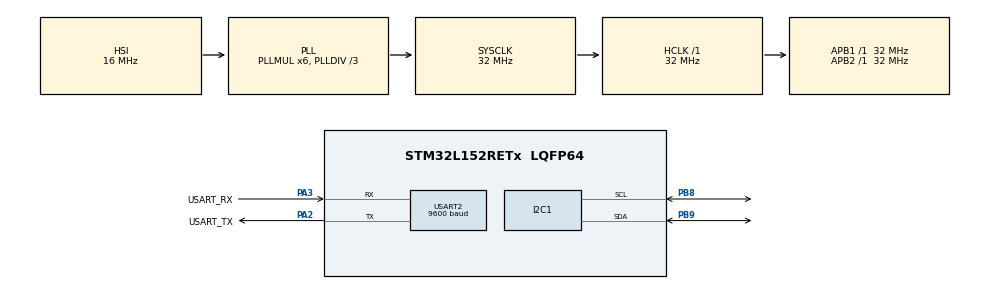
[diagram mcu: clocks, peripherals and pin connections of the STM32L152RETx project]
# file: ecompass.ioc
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Mcu.Family=STM32L1
Mcu.Name=STM32L152RETx
Mcu.Package=LQFP64
NVIC.PriorityGroup=NVIC_PRIORITYGROUP_0
NVIC.TIM3_IRQn=true\:0\:0\:false\:false\:true\:true
PA2.GPIO_Label=USART_TX
PA2.Mode=Asynchronous
PA2.Signal=USART2_TX
PA3.GPIO_Label=USART_RX
PA3.Mode=Asynchronous
PA3.Signal=USART2_RX
PB8.Mode=I2C
PB8.Signal=I2C1_SCL
PB9.Mode=I2C
PB9.Signal=I2C1_SDA
ProjectManager.HeapSize=0x200
ProjectManager.StackSize=0x400
ProjectManager.TargetToolchain=SW4STM32
RCC.48MHZClocksFreq_Value=48000000
RCC.AHBFreq_Value=32000000
RCC.APB1Freq_Value=32000000
RCC.APB1TimFreq_Value=32000000
RCC.APB2Freq_Value=32000000
RCC.APB2TimFreq_Value=32000000
RCC.HCLKFreq_Value=32000000
RCC.HSE_VALUE=8000000
RCC.HSI_VALUE=16000000
RCC.LSE_VALUE=32768
RCC.MSI_VALUE=2097000
RCC.PLLDIV=RCC_PLL_DIV3
RCC.PLLMUL=RCC_PLL_MUL6
RCC.RTCClockSelectionVirtual=RCC_RTCCLKSOURCE_LSE
RCC.SYSCLKFreq_VALUE=32000000
RCC.SYSCLKSource=RCC_SYSCLKSOURCE_PLLCLK
RCC.USBOutput=48000000
RCC.VCOOutputFreq_Value=96000000
TIM3.Period=3000
TIM3.Prescaler=31999
USART2.BaudRate=9600
USART2.VirtualMode=VM_ASYNC
VP_TIM3_VS_ClockSourceINT.Mode=Internal
board=NUCLEO-L152RE

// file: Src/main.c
/**
 ******************************************************************************
 * @file main.c
 * @author Mariлn Levi
 * @date 04/01/2018
 * @brief Main program body of the ecompass.
 *
 ******************************************************************************
 */

#include "main.h"
#include "stm32l1xx_hal.h"

/* USER CODE BEGIN Includes */
#include "LSM303AGR.cpp"

/* USER CODE END Includes */

I2C_HandleTypeDef hi2c1;
TIM_HandleTypeDef htim3;
UART_HandleTypeDef huart2;

/* USER CODE BEGIN PV */
/* Private variables ---------------------------------------------------------*/

/* USER CODE END PV */

void SystemClock_Config(void);
static void MX_GPIO_Init(void);
static void MX_USART2_UART_Init(void);
static void MX_TIM3_Init(void);
static void MX_I2C1_Init(void);

/* USER CODE BEGIN PFP */
/* Private function prototypes -----------------------------------------------*/
#ifdef __GNUC__
/* With GCC/RAISONANCE, small printf (option LD Linker->Libraries->Small printf
 set to 'Yes') calls __io_putchar() */
#define PUTCHAR_PROTOTYPE int __io_putchar(int ch)
#else
#define PUTCHAR_PROTOTYPE int fputc(int ch, FILE *f)
#endif /* __GNUC__ */

PUTCHAR_PROTOTYPE {
	HAL_UART_Transmit(&huart2, (uint8_t *) &ch, 1, 0xFFFF);
	return ch;
}
/* USER CODE END PFP */

int main(void) {

	/* MCU Configuration----------------------------------------------------------*/

	/* Reset of all peripherals, Initializes the Flash interface and the Systick. */
	HAL_Init();

	/* Configure the system clock */
	SystemClock_Config();

	/* Initialize all configured peripherals */
	MX_GPIO_Init();
	MX_USART2_UART_Init();
	MX_TIM3_Init();
	MX_I2C1_Init();

	/* USER CODE BEGIN 2 */

	LSM303AGR_setI2CInterface(&hi2c1);
	LSM303AGR_ACC_reset();
	LSM303AGR_MAG_reset();
	HAL_Delay(10);
	LSM303AGR_init();

	/* USER CODE END 2 */

	/* Infinite loop */
	while (1) {

		/* USER CODE BEGIN 3 */

		dirInt = ecompassAlgorithm();
		HAL_Delay(1000);

	}
	/* USER CODE END 3 */

}

/** System Clock Configuration
 */
void SystemClock_Config(void) {

	RCC_OscInitTypeDef RCC_OscInitStruct;
	RCC_ClkInitTypeDef RCC_ClkInitStruct;

	/**Configure the main internal regulator output voltage
	 */
	__HAL_PWR_VOLTAGESCALING_CONFIG(PWR_REGULATOR_VOLTAGE_SCALE1);

	/**Initializes the CPU, AHB and APB busses clocks
	 */
	RCC_OscInitStruct.OscillatorType = RCC_OSCILLATORTYPE_HSI;
	RCC_OscInitStruct.HSIState = RCC_HSI_ON;
	RCC_OscInitStruct.HSICalibrationValue = 16;
	RCC_OscInitStruct.PLL.PLLState = RCC_PLL_ON;
	RCC_OscInitStruct.PLL.PLLSource = RCC_PLLSOURCE_HSI;
	RCC_OscInitStruct.PLL.PLLMUL = RCC_PLL_MUL6;
	RCC_OscInitStruct.PLL.PLLDIV = RCC_PLL_DIV3;
	if (HAL_RCC_OscConfig(&RCC_OscInitStruct) != HAL_OK) {
		_Error_Handler(__FILE__, __LINE__);
	}

	/**Initializes the CPU, AHB and APB busses clocks
	 */
	RCC_ClkInitStruct.ClockType = RCC_CLOCKTYPE_HCLK | RCC_CLOCKTYPE_SYSCLK
			| RCC_CLOCKTYPE_PCLK1 | RCC_CLOCKTYPE_PCLK2;
	RCC_ClkInitStruct.SYSCLKSource = RCC_SYSCLKSOURCE_PLLCLK;
	RCC_ClkInitStruct.AHBCLKDivider = RCC_SYSCLK_DIV1;
	RCC_ClkInitStruct.APB1CLKDivider = RCC_HCLK_DIV1;
	RCC_ClkInitStruct.APB2CLKDivider = RCC_HCLK_DIV1;

	if (HAL_RCC_ClockConfig(&RCC_ClkInitStruct, FLASH_LATENCY_1) != HAL_OK) {
		_Error_Handler(__FILE__, __LINE__);
	}

	/**Configure the Systick interrupt time
	 */
	HAL_SYSTICK_Config(HAL_RCC_GetHCLKFreq() / 1000);

	/**Configure the Systick
	 */
	HAL_SYSTICK_CLKSourceConfig(SYSTICK_CLKSOURCE_HCLK);

	/** SysTick_IRQn interrupt configuration */
	HAL_NVIC_SetPriority(SysTick_IRQn, 0, 0);
}

/** I2C1 init function */
static void MX_I2C1_Init(void) {

	hi2c1.Instance = I2C1;
	hi2c1.Init.ClockSpeed = 100000;
	hi2c1.Init.DutyCycle = I2C_DUTYCYCLE_2;
	hi2c1.Init.OwnAddress1 = 0;
	hi2c1.Init.AddressingMode = I2C_ADDRESSINGMODE_7BIT;
	hi2c1.Init.DualAddressMode = I2C_DUALADDRESS_DISABLE;
	hi2c1.Init.OwnAddress2 = 0;
	hi2c1.Init.GeneralCallMode = I2C_GENERALCALL_DISABLE;
	hi2c1.Init.NoStretchMode = I2C_NOSTRETCH_DISABLE;
	if (HAL_I2C_Init(&hi2c1) != HAL_OK) {
		_Error_Handler(__FILE__, __LINE__);
	}

}

/** TIM3 init function */
static void MX_TIM3_Init(void) {

	TIM_ClockConfigTypeDef sClockSourceConfig;
	TIM_MasterConfigTypeDef sMasterConfig;

	htim3.Instance = TIM3;
	htim3.Init.Prescaler = 31999;
	htim3.Init.CounterMode = TIM_COUNTERMODE_UP;
	htim3.Init.Period = 3000;
	htim3.Init.ClockDivision = TIM_CLOCKDIVISION_DIV1;
	if (HAL_TIM_Base_Init(&htim3) != HAL_OK) {
		_Error_Handler(__FILE__, __LINE__);
	}

	sClockSourceConfig.ClockSource = TIM_CLOCKSOURCE_INTERNAL;
	if (HAL_TIM_ConfigClockSource(&htim3, &sClockSourceConfig) != HAL_OK) {
		_Error_Handler(__FILE__, __LINE__);
	}

	sMasterConfig.MasterOutputTrigger = TIM_TRGO_RESET;
	sMasterConfig.MasterSlaveMode = TIM_MASTERSLAVEMODE_DISABLE;
	if (HAL_TIMEx_MasterConfigSynchronization(&htim3, &sMasterConfig)
			!= HAL_OK) {
		_Error_Handler(__FILE__, __LINE__);
	}

}

/** USART2 init function */
static void MX_USART2_UART_Init(void) {

	huart2.Instance = USART2;
	huart2.Init.BaudRate = 9600;
	huart2.Init.WordLength = UART_WORDLENGTH_8B;
	huart2.Init.StopBits = UART_STOPBITS_1;
	huart2.Init.Parity = UART_PARITY_NONE;
	huart2.Init.Mode = UART_MODE_TX_RX;
	huart2.Init.HwFlowCtl = UART_HWCONTROL_NONE;
	huart2.Init.OverSampling = UART_OVERSAMPLING_16;
	if (HAL_UART_Init(&huart2) != HAL_OK) {
		_Error_Handler(__FILE__, __LINE__);
	}

}

/** Pinout Configuration
 */
static void MX_GPIO_Init(void) {

	/* GPIO Ports Clock Enable */
	__HAL_RCC_GPIOA_CLK_ENABLE()
	;
	__HAL_RCC_GPIOB_CLK_ENABLE()
	;

}

/* USER CODE BEGIN 4 */
/**
 * The ecompass algorithm, it does the following:
 * 		1. Read the data from the accelerometer and magnetomerer
 * 		2. Convert the data from integer to float
 * 		3. Apply the resolution on the accelerometer data
 * 		4. Calculate the phi (roll angle) value
 * 		5. Calculate the  theta (pitch angle or attitude) value
 * 		6. Calculate of the Psi (yaw angle or heading) value
 *
 * @return the value of the heading in uint16_t format.
 */
uint16_t ecompassAlgorithm() {

	printf("Start ecompassAlgorithm\r\n");

//	LSM303AGR_wakeUpAccelerometer();
//	LSM303AGR_wakeUpMagnetometer();
//	HAL_Delay(100);
	LSM303AGR_ACC_readAccelerationData(lsm303agrAccData);
	LSM303AGR_MAG_readMagneticData(lsm303agrMagData);
//	LSM303AGR_powerDownAccelerometer();
//	LSM303AGR_powerDownMagnetometer();

	printf("Data accelerometer: %ld %ld %ld\r\n", lsm303agrAccData[0],
			lsm303agrAccData[1], lsm303agrAccData[2]);
	printf("Data Magnetometer: %ld %ld %ld\r\n", lsm303agrMagData[0],
			lsm303agrMagData[1], lsm303agrMagData[2]);

	printf("---------------------------------------------------------\r\n");

//Casting from integer to float (6 castings necessary)
	lsm303agrAccDataFloat[0] = lsm303agrAccData[0];
	lsm303agrAccDataFloat[1] = lsm303agrAccData[1];
	lsm303agrAccDataFloat[2] = lsm303agrAccData[2];

	lsm303agrMagDataFloat[0] = lsm303agrMagData[0];
	lsm303agrMagDataFloat[1] = lsm303agrMagData[1];
	lsm303agrMagDataFloat[2] = lsm303agrMagData[2];

	printf("Data accelerometer: %0.2f %0.2f %0.2f\r\n",
			lsm303agrAccDataFloat[0], lsm303agrAccDataFloat[1],
			lsm303agrAccDataFloat[2]);
	printf("Data Magnetometer: %0.2f %0.2f %0.2f\r\n", lsm303agrMagDataFloat[0],
			lsm303agrMagDataFloat[1], lsm303agrMagDataFloat[2]);

	printf("---------------------------------------------------------\r\n");

	lsm303agrAccDataFloat[0] = (lsm303agrAccDataFloat[0] * 2)
			/ pow(2, (resolution - 1));
	lsm303agrAccDataFloat[1] = (lsm303agrAccDataFloat[1] * 2)
			/ pow(2, (resolution - 1));
	lsm303agrAccDataFloat[2] = (lsm303agrAccDataFloat[2] * 2)
			/ pow(2, (resolution - 1));

	//Computation of Phi (roll angle) in radians and degrees
	rollRad = atan2f(lsm303agrAccDataFloat[1], lsm303agrAccDataFloat[2]);
	rollDegree = rollRad * (180 / PI);

	//Computation of Theta (pitch angle or attitude) in radians and degrees
	lsm303agrAccDataTemp = lsm303agrAccData[1] * sinf(rollRad)
			+ lsm303agrAccData[2] * cosf(rollRad);
	pitchRad = atan2f(-lsm303agrAccData[0], lsm303agrAccDataTemp);
	pitchDegree = pitchRad * (180 / PI);

	printf("Phi (roll angle, in degrees) is: %0.2f\r\n", rollDegree);
	printf("Theta (pitch angle or attitude, in degrees) is: %0.2f\r\n",
			pitchDegree);

	//Computation of Psi (yaw angle, or heading)
	yawTemp[0] = lsm303agrMagDataFloat[2] * sinf(rollRad)
			- lsm303agrMagDataFloat[1] * cosf(rollRad);
	yawTemp[1] = lsm303agrMagDataFloat[1] * sinf(rollRad)
			+ lsm303agrMagDataFloat[2] * cosf(rollRad);
	yawTemp[2] = lsm303agrMagDataFloat[0] * cosf(pitchRad)
			+ yawTemp[1] * sinf(pitchRad);
	yawRad = atan2f(yawTemp[0], yawTemp[2]);
	yawDegree = yawRad * (180 / PI);

//	x_direction = lsm303agrMagDataFloat[0] * cosf(pitchRad)
//			+ (lsm303agrMagDataFloat[1] * sinf(rollRad)
//					+ lsm303agrMagDataFloat[2] * cosf(rollRad))
//					* sinf(pitchRad);
//	y_direction = lsm303agrMagDataFloat[2] * sinf(rollRad)
//			- lsm303agrMagDataFloat[1] * cosf(rollRad);
//	yawRad = atan2f(y_direction, x_direction);
//	yawDegree = yawRad * (180 / PI);

	if (yawDegree < 0)
		yawDegree += 360;

	printf("Psi (yaw angle or heading, in degrees) is: %0.2f\r\n", yawDegree);

	printf("Finished ecompassAlgorithm\r\n");
	printf("---------------------------------------------------------\r\n");

	return (uint16_t) yawDegree;

}

/**
 * Callibrates the ecompass. The algorithm is based on: https://github.com/kriswiner/MPU-6050/wiki/Simple-and-Effective-Magnetometer-Calibration
 *
 */
void callibration() {

	int16_t axes[3];
	int16_t xMin, yMin, zMin;
	int16_t xMax, yMax, zMax;
	int16_t xAvg, yAvg, zAvg;

	uint8_t registerValue;

	printf("Start callibration\r\n");

	LSM303AGR_MAG_readMagneticRawData(axes);
	axes[0] = xMin = xMax;
	axes[1] = yMin = yMax;
	axes[2] = zMin = zMax;

	for (uint8_t i = 0; i < 127; ++i) {
		LSM303AGR_MAG_readMagneticRawData(axes);

		if (axes[0] > xMax)
			xMax = axes[0];
		else if (axes[0] < xMin)
			xMin = axes[0];

		if (axes[1] > yMax)
			yMax = axes[1];
		else if (axes[1] < yMin)
			yMin = axes[1];

		if (axes[2] > zMax)
			zMax = axes[2];
		else if (axes[2] < zMin)
			zMin = axes[2];

		HAL_Delay(100);
	}

	xAvg = (xMax + xMin)/2;
	yAvg = (yMax + yMin)/2;
	zAvg = (zMax + zMin)/2;

	//registerValue =

}

/* USER CODE END 4 */

void _Error_Handler(char * file, int line) {
	while (1) {
	}
}

/************************ (C) COPYRIGHT STMicroelectronics *****END OF FILE****/
